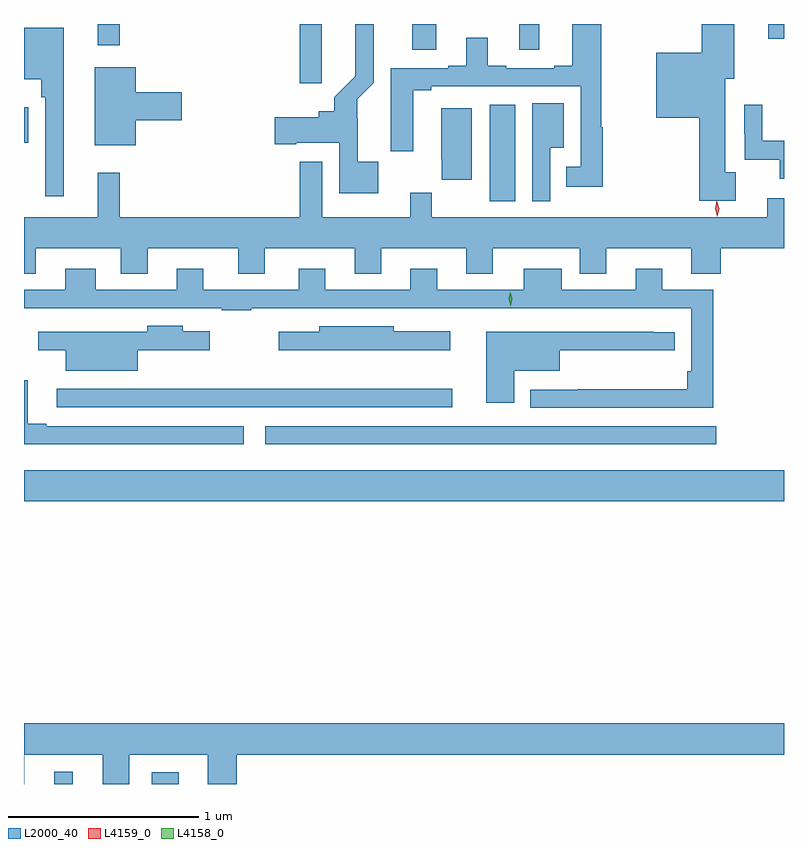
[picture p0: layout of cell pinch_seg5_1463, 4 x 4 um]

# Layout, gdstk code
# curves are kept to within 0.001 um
import gdstk
lib = gdstk.Library(unit=1e-6, precision=1e-09)
def R(c, l, rs):  # rectangles x0, y0, x1, y1
    for r in rs: c.add(gdstk.rectangle(r[:2], r[2:], *l))
def P(c, l, *ps):  # polygons
    for p in ps: c.add(gdstk.Polygon(p, *l))
L2000_40 = (2000, 40)
L4158_0 = (4158, 0)
L4159_0 = (4159, 0)

pinch_seg5_1463 = lib.new_cell('pinch_seg5_1463')
R(pinch_seg5_1463, L2000_40, [(347.323,843.285,347.422,843.349), (347.837,843.285,347.979,843.346), (347.165,844.772,351.165,844.936), (348.435,845.072,350.809,845.169), (349.616,846.353,349.75,846.859), (347.165,846.659,347.188,846.847), (348.615,846.972,348.733,847.285), (349.208,847.149,349.336,847.285), (349.772,847.149,349.876,847.285), (347.552,847.173,347.669,847.285), (351.083,847.207,351.165,847.285)])
P(pinch_seg5_1463, L2000_40, [(350.911,846.504),(350.857,846.504),(350.857,846.998),(350.902,846.998),(350.902,847.285),(350.732,847.285),(350.732,847.135),(350.492,847.135),(350.492,846.791),(350.72,846.791),(350.72,846.356),(350.911,846.356)],
  [(349.03,846.559),(348.922,846.559),(348.922,846.788),(348.918,846.788),(348.918,846.888),(349.005,846.975),(349.005,847.285),(348.908,847.285),(348.909,847.011),(348.798,846.9),(348.798,846.826),(348.716,846.826),(348.716,846.794),(348.486,846.794),(348.486,846.652),(348.598,846.652),(348.598,846.659),(348.825,846.659),(348.825,846.395),(349.03,846.395)],
  [(350.21,846.741),(350.203,846.741),(350.203,847.06),(350.204,847.06),(350.204,847.285),(350.051,847.285),(350.051,847.066),(349.955,847.066),(349.955,847.053),(349.702,847.053),(349.702,847.066),(349.606,847.066),(349.606,847.213),(349.493,847.213),(349.493,847.066),(349.397,847.066),(349.397,847.053),(349.094,847.053),(349.094,846.615),(349.213,846.615),(349.213,846.937),(349.309,846.937),(349.309,846.957),(350.094,846.957),(350.094,846.534),(350.02,846.534),(350.02,846.429),(350.21,846.429)],
  [(347.374,847.264),(347.165,847.264),(347.165,846.995),(347.257,846.995),(347.257,846.899),(347.277,846.899),(347.277,846.378),(347.374,846.378)],
  [(347.752,846.779),(347.995,846.779),(347.995,846.926),(347.752,846.926),(347.752,847.057),(347.537,847.057),(347.537,846.647),(347.752,846.647)],
  [(349.935,846.635),(350.005,846.635),(350.005,846.868),(349.839,846.868),(349.839,846.353),(349.935,846.353)],
  [(351.165,846.67),(351.051,846.67),(351.051,846.859),(350.955,846.859),(350.955,846.708),(350.958,846.708),(350.958,846.57),(351.142,846.57),(351.142,846.47),(351.165,846.47)],
  [(349.522,846.841),(349.361,846.841),(349.361,846.574),(349.363,846.574),(349.363,846.466),(349.522,846.466)],
  [(349.311,846.398),(349.199,846.398),(349.199,846.268),(348.736,846.268),(348.736,846.559),(348.615,846.559),(348.615,846.268),(347.669,846.268),(347.669,846.502),(347.552,846.502),(347.552,846.268),(347.165,846.268),(347.165,845.971),(347.227,845.971),(347.227,846.104),(347.675,846.104),(347.675,845.971),(347.815,845.971),(347.815,846.104),(348.293,846.104),(348.293,845.971),(348.433,845.971),(348.433,846.104),(348.905,846.104),(348.905,845.971),(349.045,845.971),(349.045,846.104),(349.493,846.104),(349.493,845.971),(349.633,845.971),(349.633,846.104),(350.09,846.104),(350.09,845.971),(350.23,845.971),(350.23,846.104),(350.678,846.104),(350.678,845.971),(350.831,845.971),(350.831,846.104),(351.165,846.104),(351.165,846.367),(351.077,846.367),(351.077,846.268),(349.311,846.268)],
  [(350.792,845.886),(350.524,845.886),(350.524,845.998),(350.384,845.998),(350.384,845.886),(349.996,845.886),(349.996,845.998),(349.796,845.998),(349.796,845.886),(349.339,845.886),(349.339,845.998),(349.199,845.998),(349.199,845.886),(348.751,845.886),(348.751,845.998),(348.611,845.998),(348.611,845.886),(348.109,845.886),(348.109,845.998),(347.969,845.998),(347.969,845.886),(347.542,845.886),(347.542,845.998),(347.381,845.998),(347.381,845.886),(347.165,845.886),(347.165,845.79),(348.205,845.79),(348.205,845.778),(348.36,845.778),(348.36,845.79),(350.676,845.79),(350.676,845.458),(350.656,845.458),(350.656,845.363),(350.08,845.363),(350.08,845.361),(349.829,845.361),(349.829,845.265),(350.792,845.265)],
  [(347.764,845.568),(348.142,845.568),(348.142,845.668),(348.001,845.668),(348.001,845.698),(347.813,845.698),(347.813,845.665),(347.241,845.665),(347.241,845.567),(347.384,845.567),(347.384,845.459),(347.764,845.459)],
  [(349.408,845.668),(349.11,845.668),(349.11,845.695),(348.72,845.695),(348.72,845.664),(348.507,845.664),(348.507,845.567),(349.408,845.567)],
  [(349.744,845.459),(349.984,845.459),(349.984,845.567),(350.591,845.567),(350.591,845.663),(350.48,845.663),(350.48,845.664),(349.88,845.664),(349.88,845.665),(349.598,845.665),(349.598,845.292),(349.744,845.292)],
  [(348.322,845.169),(347.281,845.169),(347.281,845.182),(347.185,845.182),(347.185,845.41),(347.165,845.41),(347.165,845.072),(348.322,845.072)],
  [(349.42,845.366),(347.86,845.366),(347.86,845.364),(347.337,845.364),(347.337,845.268),(349.42,845.268)],
  [(347.167,843.44),(347.579,843.44),(347.579,843.285),(347.719,843.285),(347.719,843.44),(348.131,843.44),(348.131,843.285),(348.284,843.285),(348.284,843.44),(351.165,843.44),(351.165,843.604),(347.165,843.604),(347.165,843.285),(347.167,843.285)])
P(pinch_seg5_1463, L4158_0, [(349.726,845.802),(349.726,845.803),(349.715,845.838),(349.723,845.873),(349.724,845.873),(349.724,845.873),(349.735,845.838),(349.726,845.803)])
P(pinch_seg5_1463, L4159_0, [(350.813,846.272),(350.813,846.272),(350.803,846.312),(350.812,846.354),(350.812,846.354),(350.812,846.354),(350.823,846.313),(350.814,846.272)])

lib.write_gds('pinch_seg5_1463.gds')
